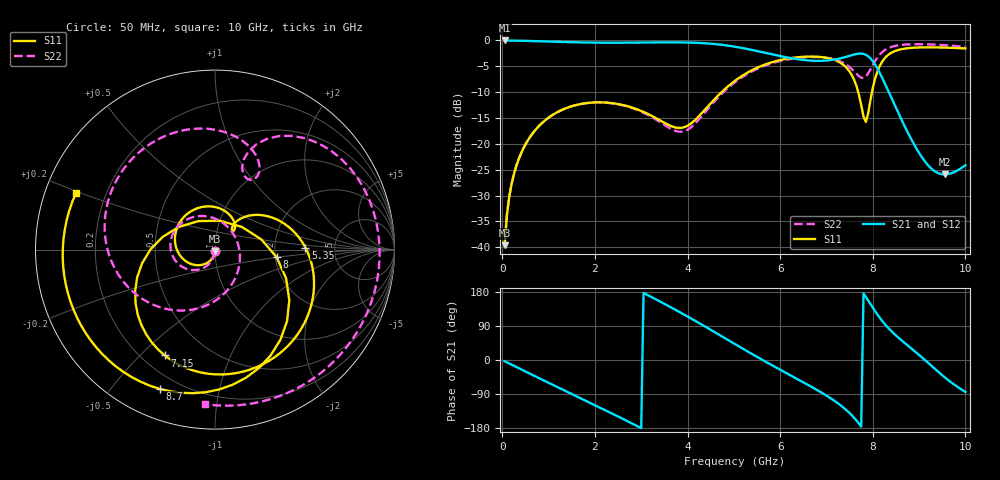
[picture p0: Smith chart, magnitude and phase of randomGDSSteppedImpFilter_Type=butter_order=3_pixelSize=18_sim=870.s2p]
! freq	dB(S11)	phase(S11)	dB(S12)	phase(S12)
!  dB(S21)	phase(S21)	dB(S22)	phase(S22)
!S-par simulation data
#  GHz  S  DB  R 50
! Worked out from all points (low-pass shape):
!   200 points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, 50 MHz to 10 GHz, reference 50 ohm
!   highest |S21| = -0.01 dB at 50 MHz (marker M1); lowest = -25.9 dB at 9.55 GHz (marker M2)
!   |S21| within 3 dB of the highest: start of sweep to 5.989 GHz; 7.486 GHz to 7.89 GHz (403.9 MHz wide, 5.25 % of centre)
!   lowest |S11| = -39.6 dB at 50 MHz (marker M3), VSWR 1.02, Z = 49.9 - j1.04 ohm
!   |S11| at or under -10 dB: start of sweep to 4.736 GHz; 7.685 GHz to 7.983 GHz (297.6 MHz wide, 3.8 % of centre)
!   |S22| runs from -39.8 to -0.7 dB; largest |S21 - S12| = 0
!   S11 on the Smith chart (normalised r, x): 50 MHz: 1.00, -0.02; 5.35 GHz: 3.03, +0.09; 7.15 GHz: 0.29, -0.59; 8 GHz: 2.03, -0.20; 8.7 GHz: 0.13, -0.67; 10 GHz: 0.09, +0.20
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0.05  -39.65 -92.3  -0.01 -3.1  -0.01 -3.1  -39.79 -90.4
0.2  -27.79 -104.0  -0.03 -12.2  -0.03 -12.2  -27.78 -100.3
0.5  -20.13 -125.5  -0.08 -30.3  -0.08 -30.3  -20.11 -116.0
1.15  -14.07 -170.8  -0.26 -69.1  -0.26 -69.1  -14.06 -148.7
1.75  -12.21 147.7  -0.39 -104.5  -0.39 -104.5  -12.22 -178.0
2.65  -12.59 87.1  -0.44 -158.2  -0.44 -158.2  -12.67 135.7
3.4  -15.43 48.8  -0.38 154.8  -0.38 154.8  -15.77 81.2
4.25  -14.61 53.2  -0.48 97.4  -0.48 97.4  -15.24 -41.8
5.05  -7.64 20.0  -1.25 40.2  -1.25 40.2  -7.91 -122.7
5.35  -5.95 1.3  -1.76 18.8  -1.76 18.8  -6.18 -146.3
6.05  -3.71 -42.7  -3.12 -29.0  -3.12 -29.0  -3.87 162.7
6.7  -3.12 -83.1  -3.93 -72.3  -3.93 -72.3  -3.20 117.8
7.15  -3.70 -115.4  -3.74 -105.9  -3.74 -105.9  -3.61 86.4
7.6  -7.68 -169.4  -2.72 -152.9  -2.72 -152.9  -6.01 60.4
7.85  -15.75 80.0  -2.78 166.4  -2.78 166.4  -6.98 69.3
8  -9.21 -7.1  -4.01 138.0  -4.01 138.0  -4.76 71.2
8.15  -4.95 -44.8  -6.27 111.4  -6.27 111.4  -2.74 60.3
8.35  -2.68 -76.4  -10.08 82.5  -10.08 82.5  -1.43 40.8
8.7  -1.57 -111.6  -16.81 43.8  -16.81 43.8  -0.80 9.5
9.1  -1.34 -140.6  -23.09 2.8  -23.09 2.8  -0.74 -22.4
9.55  -1.39 -170.2  -25.92 -45.4  -25.92 -45.4  -0.92 -57.3
10  -1.55 157.7  -24.13 -84.6  -24.13 -84.6  -1.28 -93.6
